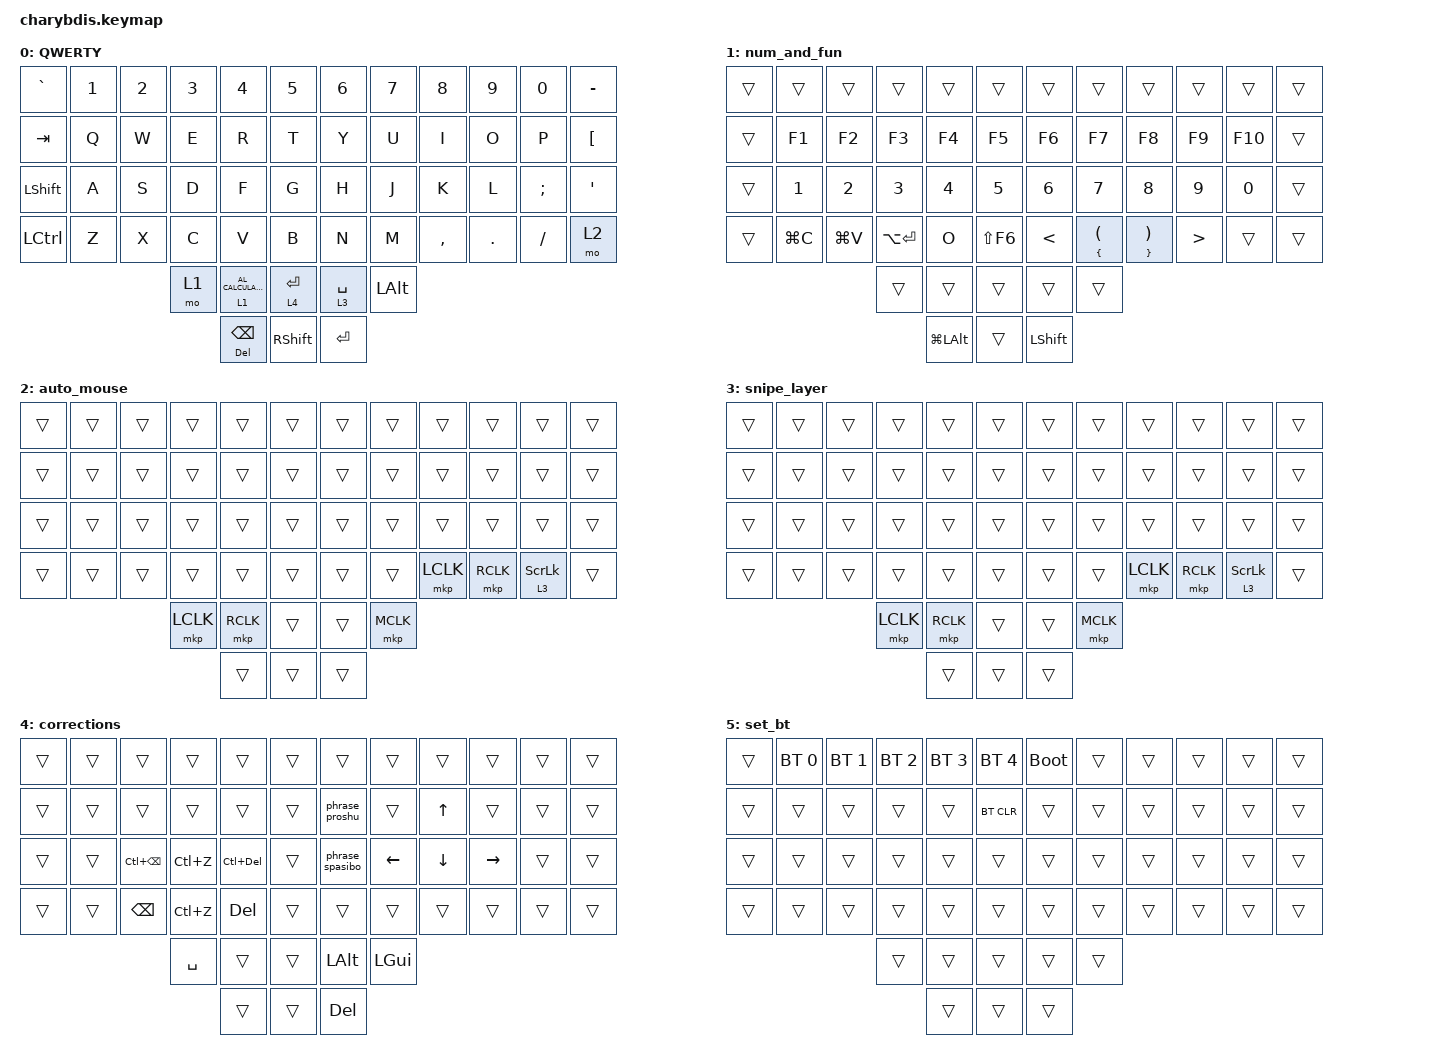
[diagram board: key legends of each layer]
#define ZMK_POINTING_DEFAULT_SCRL_VAL 120

#include <behaviors.dtsi>
#include <dt-bindings/zmk/bt.h>
#include <dt-bindings/zmk/keys.h>
#include <dt-bindings/zmk/pointing.h>

/ {
    behaviors {
        // Кастомное движение мыши

        mmv_slow: mmv_slow {
            compatible = "zmk,behavior-input-two-axis";
            #binding-cells = <1>;
            x-input-code = <INPUT_REL_X>;
            y-input-code = <INPUT_REL_Y>;
            time-to-max-speed-ms = <500>;
            acceleration-exponent = <1>;
        };

        hml: homewrow_mods_left {
            compatible = "zmk,behavior-hold-tap";
            label = "homewrow_mods_left";
            bindings = <&kp>, <&kp>;

            #binding-cells = <2>;
            hold-trigger-key-positions = <6 7 8 9 10 11 18 19 20 21 22 23 30 31 32 33 34 35 42 43 44 45 46 47 53 54 55 56 57>;
            tapping-term-ms = <300>;
            flavor = "balanced";
            quick-tap-ms = <175>;
            require-prior-idle-ms = <250>;
            hold-trigger-on-release;
        };

        hmr: hmr {
            compatible = "zmk,behavior-hold-tap";
            label = "HMR";
            bindings = <&kp>, <&kp>;

            #binding-cells = <2>;
            tapping-term-ms = <300>;
            hold-trigger-key-positions = <0 1 12 13 14 15 16 17 24 25 26 27 28 29 36 37 38 39 40 41 48 49 50 51 52 2 3 4 5>;
            flavor = "balanced";
            quick-tap-ms = <175>;
            require-prior-idle-ms = <250>;
            hold-trigger-on-release;
        };

        tap_preferred: tap_preferred {
            compatible = "zmk,behavior-hold-tap";
            label = "TAP_PREFERRED";
            bindings = <&mo>, <&kp>;

            #binding-cells = <2>;
            tapping-term-ms = <40>;
            flavor = "tap-preferred";
        };

        phrase_proshu: phrase_proshu {
            compatible = "zmk,behavior-macro";
            label = "phrase_proshu";
            #binding-cells = <0>;
            bindings =
                <&macro_press>,
                <&kp LSHIFT>,
                <&macro_tap>,
                <&kp G>,
                <&macro_release>,
                <&kp LSHIFT>,
                <&macro_tap>,
                <&kp H>,
                <&macro_tap>,
                <&kp J>,
                <&macro_tap>,
                <&kp I>,
                <&macro_tap>,
                <&kp E>,
                <&macro_tap>,
                <&kp SPACE>,
                <&macro_tap>,
                <&kp H>,
                <&macro_tap>,
                <&kp F>,
                <&macro_tap>,
                <&kp C>,
                <&macro_tap>,
                <&kp C>,
                <&macro_tap>,
                <&kp V>,
                <&macro_tap>,
                <&kp J>,
                <&macro_tap>,
                <&kp N>,
                <&macro_tap>,
                <&kp H>,
                <&macro_tap>,
                <&kp T>,
                <&macro_tap>,
                <&kp N>,
                <&macro_tap>,
                <&kp M>,
                <&macro_press>,
                <&kp LCTRL>,
                <&macro_tap>,
                <&kp ENTER>,
                <&macro_release>,
                <&kp LCTRL>;
        };

        phrase_spasibo: phrase_spasibo {
            compatible = "zmk,behavior-macro";
            label = "phrase_spasibo";
            #binding-cells = <0>;
            bindings =
                <&macro_press>,
                <&kp LSHIFT>,
                <&macro_tap>,
                <&kp C>,
                <&macro_release>,
                <&kp LSHIFT>,
                <&macro_tap>,
                <&kp G>,
                <&macro_tap>,
                <&kp F>,
                <&macro_tap>,
                <&kp C>,
                <&macro_tap>,
                <&kp B>,
                <&macro_tap>,
                <&kp COMMA>,
                <&macro_tap>,
                <&kp J>,
                <&macro_tap>,
                <&kp EXCL>,
                <&macro_press>,
                <&kp LCTRL>,
                <&macro_tap>,
                <&kp ENTER>,
                <&macro_release>,
                <&kp LCTRL>;
        };
    };

    combos {
        compatible = "zmk,combos";

        minus {
            bindings = <&kp MINUS>;
            key-positions = <31 30>;
        };

        par {
            bindings = <&kp RIGHT_PARENTHESIS>;
            key-positions = <31 32>;
            require-prior-idle-ms = <100>;
        };

        par2 {
            bindings = <&kp LEFT_PARENTHESIS>;
            key-positions = <27 28>;
            require-prior-idle-ms = <100>;
        };

        underscore {
            bindings = <&kp UNDER>;
            key-positions = <42 43>;
        };

        bra {
            bindings = <&kp LEFT_BRACKET>;
            key-positions = <15 16>;
        };

        right {
            bindings = <&kp RIGHT_BRACKET>;
            key-positions = <19 20>;
        };

        equal {
            bindings = <&kp EQUAL>;
            key-positions = <40 41>;
        };

        plus {
            bindings = <&kp PLUS>;
            key-positions = <18 19>;
        };

        esc {
            bindings = <&kp ESCAPE>;
            key-positions = <0 1>;
        };

        LAYER_BT {
            bindings = <&mo 5>;
            key-positions = <36 47>;
        };

        home {
            bindings = <&kp HOME>;
            key-positions = <10 22>;
            layers = <1>;
        };

        end {
            bindings = <&kp END>;
            key-positions = <11 23>;
            layers = <1>;
        };

        pg_up {
            bindings = <&kp PAGE_UP>;
            key-positions = <10 11>;
            layers = <1>;
        };

        pg_dn {
            bindings = <&kp PAGE_DOWN>;
            key-positions = <22 23>;
            layers = <1>;
        };

        ar_up {
            bindings = <&kp UP_ARROW>;
            key-positions = <34 35>;
            layers = <1>;
        };

        ar_dn {
            bindings = <&kp DOWN_ARROW>;
            key-positions = <46 47>;
            layers = <1>;
        };

        ar_lt {
            bindings = <&kp LEFT_ARROW>;
            key-positions = <34 46>;
            layers = <1>;
        };

        al_rt {
            bindings = <&kp RIGHT_ARROW>;
            key-positions = <35 47>;
            layers = <1>;
        };

        less {
            bindings = <&kp LESS_THAN>;
            key-positions = <39 40>;
        };

        greater {
            bindings = <&kp GREATER_THAN>;
            key-positions = <43 44>;
        };

        logoff {
            bindings = <&kp LG(L)>;
            key-positions = <0 12>;
        };
    };

    macros {
    };

    keymap {
        compatible = "zmk,keymap";

        QWERTY {
            bindings = <
&kp GRAVE  &kp N1  &kp N2  &kp N3  &kp N4                 &kp N5         &kp N6       &kp N7        &kp N8     &kp N9   &kp N0    &kp MINUS
&kp TAB    &kp Q   &kp W   &kp E   &kp R                  &kp T          &kp Y        &kp U         &kp I      &kp O    &kp P     &kp LEFT_BRACKET
&kp LSHFT  &kp A   &kp S   &kp D   &kp F                  &kp G          &kp H        &kp J         &kp K      &kp L    &kp SEMI  &kp APOS
&kp LCTRL  &kp Z   &kp X   &kp C   &kp V                  &kp B          &kp N        &kp M         &kp COMMA  &kp DOT  &kp FSLH  &mo 2
                           &mo 1   &lt 1 C_AL_CALCULATOR  &lt 4 ENTER    &lt 3 SPACE  &kp LEFT_ALT
                                   &hmr DELETE BACKSPACE  &kp RSHIFT     &kp ENTER
            >;
        };

        num_and_fun {
            bindings = <
&trans  &trans        &trans        &trans         &trans            &trans          &trans          &trans                            &trans                              &trans            &trans   &trans
&trans  &kp F1        &kp F2        &kp F3         &kp F4            &kp F5          &kp F6          &kp F7                            &kp F8                              &kp F9            &kp F10  &trans
&trans  &kp NUMBER_1  &kp NUMBER_2  &kp NUMBER_3   &kp NUMBER_4      &kp NUMBER_5    &kp NUMBER_6    &kp N7                            &kp N8                              &kp N9            &kp N0   &trans
&trans  &kp LG(C)     &kp LG(V)     &kp LA(ENTER)  &kp O             &kp LS(F6)      &kp LESS_THAN   &hml LEFT_BRACE LEFT_PARENTHESIS  &hmr RIGHT_BRACE RIGHT_PARENTHESIS  &kp GREATER_THAN  &trans   &trans
                                    &trans         &trans            &trans          &trans          &trans
                                                   &kp LG(LEFT_ALT)  &trans          &kp LEFT_SHIFT
            >;
        };

        auto_mouse {
            bindings = <
&trans  &trans  &trans  &trans     &trans     &trans    &trans  &trans     &trans     &trans     &trans            &trans
&trans  &trans  &trans  &trans     &trans     &trans    &trans  &trans     &trans     &trans     &trans            &trans
&trans  &trans  &trans  &trans     &trans     &trans    &trans  &trans     &trans     &trans     &trans            &trans
&trans  &trans  &trans  &trans     &trans     &trans    &trans  &trans     &mkp LCLK  &mkp RCLK  &lt 3 SCROLLLOCK  &trans
                        &mkp LCLK  &mkp RCLK  &trans    &trans  &mkp MCLK
                                   &trans     &trans    &trans
            >;
        };

        snipe_layer {
            bindings = <
&trans  &trans  &trans  &trans     &trans     &trans    &trans  &trans     &trans     &trans     &trans            &trans
&trans  &trans  &trans  &trans     &trans     &trans    &trans  &trans     &trans     &trans     &trans            &trans
&trans  &trans  &trans  &trans     &trans     &trans    &trans  &trans     &trans     &trans     &trans            &trans
&trans  &trans  &trans  &trans     &trans     &trans    &trans  &trans     &mkp LCLK  &mkp RCLK  &lt 3 SCROLLLOCK  &trans
                        &mkp LCLK  &mkp RCLK  &trans    &trans  &mkp MCLK
                                   &trans     &trans    &trans
            >;
        };

        corrections {
            bindings = <
&trans  &trans  &trans             &trans     &trans          &trans    &trans           &trans          &trans          &trans           &trans  &trans
&trans  &trans  &trans             &trans     &trans          &trans    &phrase_proshu   &trans          &kp UP_ARROW    &trans           &trans  &trans
&trans  &trans  &kp LC(BACKSPACE)  &kp LC(Z)  &kp LC(DELETE)  &trans    &phrase_spasibo  &kp LEFT_ARROW  &kp DOWN_ARROW  &kp RIGHT_ARROW  &trans  &trans
&trans  &trans  &kp BACKSPACE      &kp LC(Z)  &kp DELETE      &trans    &trans           &trans          &trans          &trans           &trans  &trans
                                   &kp SPACE  &trans          &trans    &kp LEFT_ALT     &kp LEFT_GUI
                                              &trans          &trans    &kp DELETE
            >;
        };

        set_bt {
            bindings = <
&trans  &bt BT_SEL 0  &bt BT_SEL 1  &bt BT_SEL 2  &bt BT_SEL 3  &bt BT_SEL 4    &bootloader  &trans  &trans  &trans  &trans  &trans
&trans  &trans        &trans        &trans        &trans        &bt BT_CLR      &trans       &trans  &trans  &trans  &trans  &trans
&trans  &trans        &trans        &trans        &trans        &trans          &trans       &trans  &trans  &trans  &trans  &trans
&trans  &trans        &trans        &trans        &trans        &trans          &trans       &trans  &trans  &trans  &trans  &trans
                                    &trans        &trans        &trans          &trans       &trans
                                                  &trans        &trans          &trans
            >;
        };
    };
};
